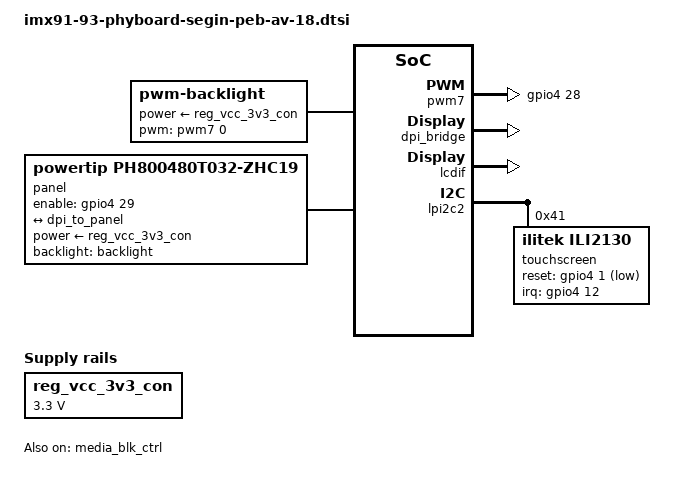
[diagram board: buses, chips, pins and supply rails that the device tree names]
// SPDX-License-Identifier: (GPL-2.0+ OR MIT)
/*
 * Copyright (C) 2026 PHYTEC Messtechnik GmbH
 *
 * Author: Florijan Plohl <florijan.plohl@norik.com>
 */

#include <dt-bindings/clock/imx93-clock.h>
#include <dt-bindings/gpio/gpio.h>
#include <dt-bindings/interrupt-controller/arm-gic.h>

/dts-v1/;
/plugin/;

&{/} {
	backlight: backlight {
		compatible = "pwm-backlight";
		brightness-levels = <0 4 8 16 32 64 128 255>;
		default-brightness-level = <5>;
		power-supply = <&reg_vcc_3v3_con>;
		pwms = <&pwm7 0 5000000 0>;
	};

	panel {
		compatible = "powertip,ph800480t032-zhc19";
		pinctrl-names = "default";
		pinctrl-0 = <&pinctrl_panel>;

		backlight = <&backlight>;
		enable-gpios = <&gpio4 29 GPIO_ACTIVE_HIGH>;
		power-supply = <&reg_vcc_3v3_con>;

		port {
			panel_in: endpoint {
				remote-endpoint = <&dpi_to_panel>;
			};
		};
	};

	pwm7: pwm-7 {
		compatible = "pwm-gpio";
		pinctrl-names = "default";
		pinctrl-0 = <&pinctrl_pwm7>;
		gpios = <&gpio4 28 GPIO_ACTIVE_HIGH>;
		#pwm-cells = <3>;
	};

	reg_vcc_3v3_con: regulator-vcc-3v3-con {
		compatible = "regulator-fixed";
		regulator-name = "VCC3V3_CON";
		regulator-max-microvolt = <3300000>;
		regulator-min-microvolt = <3300000>;
	};
};

&dpi_bridge {
	status = "okay";
};

&dpi_to_panel {
	remote-endpoint = <&panel_in>;
	bus-width = <18>;
};

&lcdif {
	pinctrl-names = "default";
	pinctrl-0 = <&pinctrl_lcdif>;
	assigned-clocks = <&clk IMX93_CLK_VIDEO_PLL>;
	assigned-clock-rates = <27272728>;
	status = "okay";
};

&lpi2c2 {
	#address-cells = <1>;
	#size-cells = <0>;

	touchscreen@41 {
		compatible = "ilitek,ili2130";
		reg = <0x41>;
		pinctrl-names = "default";
		pinctrl-0 = <&pinctrl_touchscreen>;
		interrupt-parent = <&gpio4>;
		interrupts = <12 IRQ_TYPE_EDGE_FALLING>;
		reset-gpios = <&gpio4 1 GPIO_ACTIVE_LOW>;
		touchscreen-size-x = <800>;
		touchscreen-size-y = <480>;
		wakeup-source;
	};
};

&media_blk_ctrl {
	status = "okay";
};
